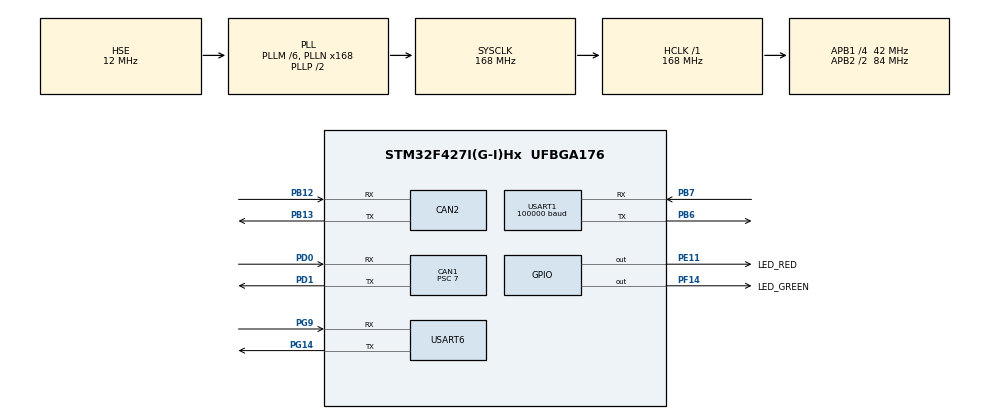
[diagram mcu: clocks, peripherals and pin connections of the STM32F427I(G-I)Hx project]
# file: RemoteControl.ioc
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CAN1.BS1=CAN_BS1_2TQ
CAN1.BS2=CAN_BS2_3TQ
CAN1.CalculateTimeQuantum=166.66666666666669
CAN1.NART=ENABLE
CAN1.Prescaler=7
CAN1.TXFP=ENABLE
CAN2.CalculateTimeQuantum=380.95238095238096
Dma.Request0=USART1_RX
Dma.USART1_RX.0.Direction=DMA_PERIPH_TO_MEMORY
Dma.USART1_RX.0.FIFOMode=DMA_FIFOMODE_DISABLE
Dma.USART1_RX.0.Instance=DMA2_Stream2
Dma.USART1_RX.0.MemDataAlignment=DMA_MDATAALIGN_BYTE
Dma.USART1_RX.0.MemInc=DMA_MINC_ENABLE
Dma.USART1_RX.0.Mode=DMA_CIRCULAR
Dma.USART1_RX.0.PeriphDataAlignment=DMA_PDATAALIGN_BYTE
Dma.USART1_RX.0.PeriphInc=DMA_PINC_DISABLE
Dma.USART1_RX.0.Priority=DMA_PRIORITY_LOW
Mcu.Family=STM32F4
Mcu.Name=STM32F427I(G-I)Hx
Mcu.Package=UFBGA176
NVIC.DMA2_Stream2_IRQn=true\:0\:0\:false\:false\:true\:false\:true
NVIC.PriorityGroup=NVIC_PRIORITYGROUP_4
NVIC.USART1_IRQn=true\:0\:0\:false\:false\:true\:true\:true
NVIC.USART6_IRQn=true\:0\:0\:false\:false\:true\:true\:true
PA13.Mode=Serial_Wire
PA13.Signal=SYS_JTMS-SWDIO
PA14.Mode=Serial_Wire
PA14.Signal=SYS_JTCK-SWCLK
PB12.Mode=Slave
PB12.Signal=CAN2_RX
PB13.Mode=Slave
PB13.Signal=CAN2_TX
PB6.Mode=Asynchronous
PB6.Signal=USART1_TX
PB7.Mode=Asynchronous
PB7.Signal=USART1_RX
PD0.Mode=Master
PD0.Signal=CAN1_RX
PD1.Mode=Master
PD1.Signal=CAN1_TX
PE11.GPIO_Label=LED_RED
PE11.Signal=GPIO_Output
PF14.GPIO_Label=LED_GREEN
PF14.Signal=GPIO_Output
PG14.Mode=Asynchronous
PG14.Signal=USART6_TX
PG9.Mode=Asynchronous
PG9.Signal=USART6_RX
PH0/OSC_IN.Mode=HSE-External-Oscillator
PH0/OSC_IN.Signal=RCC_OSC_IN
PH1/OSC_OUT.Mode=HSE-External-Oscillator
PH1/OSC_OUT.Signal=RCC_OSC_OUT
ProjectManager.HeapSize=0x200
ProjectManager.StackSize=0x400
ProjectManager.TargetToolchain=MDK-ARM V5
RCC.48MHZClocksFreq_Value=84000000
RCC.AHBFreq_Value=168000000
RCC.APB1CLKDivider=RCC_HCLK_DIV4
RCC.APB1Freq_Value=42000000
RCC.APB1TimFreq_Value=84000000
RCC.APB2CLKDivider=RCC_HCLK_DIV2
RCC.APB2Freq_Value=84000000
RCC.APB2TimFreq_Value=168000000
RCC.CortexFreq_Value=168000000
RCC.HCLKFreq_Value=168000000
RCC.HSE_VALUE=12000000
RCC.HSI_VALUE=16000000
RCC.LSE_VALUE=32768
RCC.PLLM=6
RCC.PLLN=168
RCC.PLLSourceVirtual=RCC_PLLSOURCE_HSE
RCC.SYSCLKFreq_VALUE=168000000
RCC.SYSCLKSource=RCC_SYSCLKSOURCE_PLLCLK
RCC.VCOOutputFreq_Value=336000000
USART1.BaudRate=100000
USART1.Parity=PARITY_EVEN
USART1.VirtualMode=VM_ASYNC
USART6.VirtualMode=VM_ASYNC
board=RemoteControl

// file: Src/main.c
/**
  ******************************************************************************
  * @file           : main.c
  * @brief          : Main program body
  ******************************************************************************
  ** This notice applies to any and all portions of this file
  * that are not between comment pairs USER CODE BEGIN and
  * USER CODE END. Other portions of this file, whether
  * inserted by the user or by software development tools
  * are owned by their respective copyright owners.
  *
  * COPYRIGHT(c) 2019 STMicroelectronics
  *
  * Redistribution and use in source and binary forms, with or without modification,
  * are permitted provided that the following conditions are met:
  *   1. Redistributions of source code must retain the above copyright notice,
  *      this list of conditions and the following disclaimer.
  *   2. Redistributions in binary form must reproduce the above copyright notice,
  *      this list of conditions and the following disclaimer in the documentation
  *      and/or other materials provided with the distribution.
  *   3. Neither the name of STMicroelectronics nor the names of its contributors
  *      may be used to endorse or promote products derived from this software
  *      without specific prior written permission.
  *
  * THIS SOFTWARE IS PROVIDED BY THE COPYRIGHT HOLDERS AND CONTRIBUTORS "AS IS"
  * AND ANY EXPRESS OR IMPLIED WARRANTIES, INCLUDING, BUT NOT LIMITED TO, THE
  * IMPLIED WARRANTIES OF MERCHANTABILITY AND FITNESS FOR A PARTICULAR PURPOSE ARE
  * DISCLAIMED. IN NO EVENT SHALL THE COPYRIGHT HOLDER OR CONTRIBUTORS BE LIABLE
  * FOR ANY DIRECT, INDIRECT, INCIDENTAL, SPECIAL, EXEMPLARY, OR CONSEQUENTIAL
  * DAMAGES (INCLUDING, BUT NOT LIMITED TO, PROCUREMENT OF SUBSTITUTE GOODS OR
  * SERVICES; LOSS OF USE, DATA, OR PROFITS; OR BUSINESS INTERRUPTION) HOWEVER
  * CAUSED AND ON ANY THEORY OF LIABILITY, WHETHER IN CONTRACT, STRICT LIABILITY,
  * OR TORT (INCLUDING NEGLIGENCE OR OTHERWISE) ARISING IN ANY WAY OUT OF THE USE
  * OF THIS SOFTWARE, EVEN IF ADVISED OF THE POSSIBILITY OF SUCH DAMAGE.
  *
  ******************************************************************************
  */
#include "main.h"
#include "stm32f4xx_hal.h"
#include "can.h"
#include "dma.h"
#include "usart.h"
#include "gpio.h"

/* USER CODE BEGIN Includes */
#include "bsp_uart.h"
/* USER CODE END Includes */

/* USER CODE BEGIN PV */
/* Private variables ---------------------------------------------------------*/
extern rc_info_t rc;
char buf[200];
int count;
uint8_t data[8];
uint32_t TxMailbox;
/* USER CODE END PV */

void SystemClock_Config(void);

/* USER CODE BEGIN PFP */
/* Private function prototypes -----------------------------------------------*/

/* USER CODE END PFP */

int main(void)
{
  /* USER CODE BEGIN 1 */
	HAL_CAN_Start(&hcan1);
  /* USER CODE END 1 */

  /* MCU Configuration----------------------------------------------------------*/

  /* Reset of all peripherals, Initializes the Flash interface and the Systick. */
  HAL_Init();

  /* Configure the system clock */
  SystemClock_Config();

  /* Initialize all configured peripherals */
  MX_GPIO_Init();
  MX_DMA_Init();
  MX_USART6_UART_Init();
  MX_USART1_UART_Init();
  MX_CAN1_Init();
  MX_CAN2_Init();
  /* USER CODE BEGIN 2 */
	led_off();

CAN_TxHeaderTypeDef pHeader;
pHeader.DLC=8;
pHeader.IDE = CAN_ID_STD;
pHeader.RTR = CAN_RTR_DATA;
pHeader.StdId = 0x200;
	/* open dbus uart receive it */
	dbus_uart_init();
	HAL_CAN_Start(&hcan2);
	HAL_CAN_Start(&hcan1);
//	can_manage_init();
			data[0]=-3;
			data[1]=3;
			data[2]=3;
			data[3]=3;
			data[4]=3;
			data[5]=3;
			data[6]=3;
			data[7]=3;
  /* USER CODE END 2 */

  /* Infinite loop */
  while (1)
  {

  /* USER CODE BEGIN 3 */

	sprintf(buf, "CH1: %4d  CH2: %4d  CH3: %4d  CH4: %4d  SW1: %1d  SW2: %1d \n", rc.ch1, rc.ch2, rc.ch3, rc.ch4, rc.sw1, rc.sw2);
	HAL_UART_Transmit(&huart6, (uint8_t *)buf, (COUNTOF(buf) - 1), 55);
	HAL_Delay(50);

	HAL_CAN_AddTxMessage(&hcan1, &pHeader, data, &TxMailbox);

	//HAL_CAN_AddTxMessage(&hcan1, &pHeader, data, &TxMailbox);
	//	can_msg_bytes_send(&hcan1, msg.data, 8, msg.id);
//	if (count==10)
//	{
//		HAL_GPIO_TogglePin(LED_GREEN_GPIO_Port, LED_GREEN_Pin);
//		count=0;
//	}
  }
  /* USER CODE END 3 */

}

void SystemClock_Config(void)
{

  RCC_OscInitTypeDef RCC_OscInitStruct;
  RCC_ClkInitTypeDef RCC_ClkInitStruct;

    /**Configure the main internal regulator output voltage
    */
  __HAL_RCC_PWR_CLK_ENABLE();

  __HAL_PWR_VOLTAGESCALING_CONFIG(PWR_REGULATOR_VOLTAGE_SCALE1);

    /**Initializes the CPU, AHB and APB busses clocks
    */
  RCC_OscInitStruct.OscillatorType = RCC_OSCILLATORTYPE_HSE;
  RCC_OscInitStruct.HSEState = RCC_HSE_ON;
  RCC_OscInitStruct.PLL.PLLState = RCC_PLL_ON;
  RCC_OscInitStruct.PLL.PLLSource = RCC_PLLSOURCE_HSE;
  RCC_OscInitStruct.PLL.PLLM = 6;
  RCC_OscInitStruct.PLL.PLLN = 168;
  RCC_OscInitStruct.PLL.PLLP = RCC_PLLP_DIV2;
  RCC_OscInitStruct.PLL.PLLQ = 4;
  if (HAL_RCC_OscConfig(&RCC_OscInitStruct) != HAL_OK)
  {
    _Error_Handler(__FILE__, __LINE__);
  }

    /**Initializes the CPU, AHB and APB busses clocks
    */
  RCC_ClkInitStruct.ClockType = RCC_CLOCKTYPE_HCLK|RCC_CLOCKTYPE_SYSCLK
                              |RCC_CLOCKTYPE_PCLK1|RCC_CLOCKTYPE_PCLK2;
  RCC_ClkInitStruct.SYSCLKSource = RCC_SYSCLKSOURCE_PLLCLK;
  RCC_ClkInitStruct.AHBCLKDivider = RCC_SYSCLK_DIV1;
  RCC_ClkInitStruct.APB1CLKDivider = RCC_HCLK_DIV4;
  RCC_ClkInitStruct.APB2CLKDivider = RCC_HCLK_DIV2;

  if (HAL_RCC_ClockConfig(&RCC_ClkInitStruct, FLASH_LATENCY_5) != HAL_OK)
  {
    _Error_Handler(__FILE__, __LINE__);
  }

    /**Configure the Systick interrupt time
    */
  HAL_SYSTICK_Config(HAL_RCC_GetHCLKFreq()/1000);

    /**Configure the Systick
    */
  HAL_SYSTICK_CLKSourceConfig(SYSTICK_CLKSOURCE_HCLK);

  /* SysTick_IRQn interrupt configuration */
  HAL_NVIC_SetPriority(SysTick_IRQn, 0, 0);
}

void _Error_Handler(char *file, int line)
{
  while(1)
  {
  }
}

/************************ (C) COPYRIGHT STMicroelectronics *****END OF FILE****/
